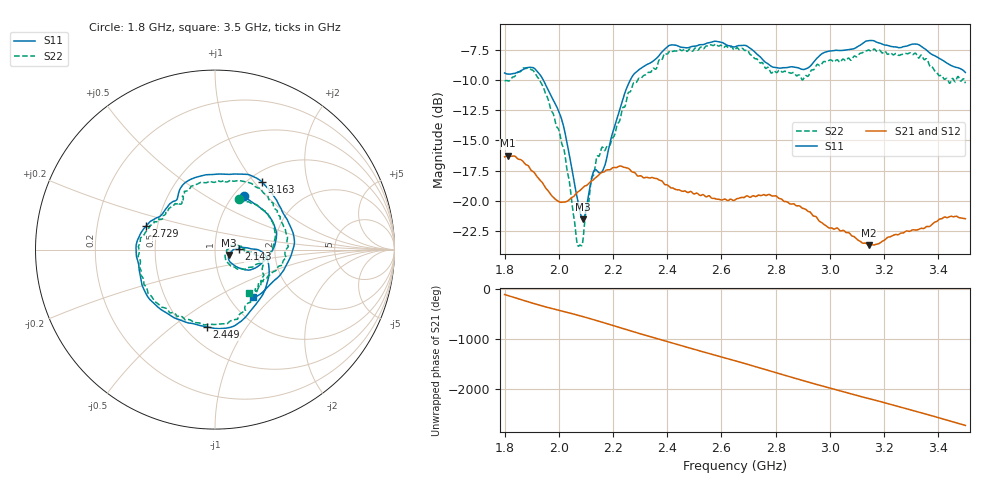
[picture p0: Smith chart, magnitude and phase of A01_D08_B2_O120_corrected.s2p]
! Created with skrf 1.9.0 (http://scikit-rf.org).
# Hz S RI R 50.0
!freq ReS11 ImS11 ReS21 ImS21 ReS12 ImS12 ReS22 ImS22
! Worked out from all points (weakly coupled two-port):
!   1601 points, 1.8 GHz to 3.5 GHz, reference 50 ohm
!   highest |S21| = -16.27 dB at 1.812 GHz (marker M1); lowest = -23.7 dB at 3.143 GHz (marker M2)
!   lowest |S11| = -21.5 dB at 2.09 GHz (marker M3), VSWR 1.18, Z = 58.4 - j3.53 ohm
!   |S11| at or under -10 dB: 1.943 GHz to 2.264 GHz (321 MHz wide, 15.3 % of centre)
!   |S22| runs from -23.8 to -7.0 dB; largest |S21 - S12| = 0.0032
!   S11 on the Smith chart (normalised r, x): 1.8 GHz: 1.12, +0.75; 2.143 GHz: 1.30, +0.01; 2.449 GHz: 0.63, -0.67; 2.729 GHz: 0.43, +0.13; 3.163 GHz: 1.15, +1.10; 3.5 GHz: 1.27, -0.77
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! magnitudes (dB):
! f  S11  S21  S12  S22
! 1.8 GHz  -9.4  -16.4  -16.4  -10.1
! 1.812 GHz  -9.5  -16.3  -16.3  -10.1
! 1.887 GHz  -9.0  -17.1  -17.2  -9.0
! 1.94 GHz  -9.9  -18.5  -18.5  -10.5
! 2.013 GHz  -13.4  -20.1  -20.1  -15.4
! 2.067 GHz  -19.6  -19.3  -19.4  -23.4
! 2.084 GHz  -21.4  -19.0  -19.0  -23.7
! 2.09 GHz  -21.5  -18.9  -18.9  -23.1
! 2.125 GHz  -17.8  -18.3  -18.3  -18.0
! 2.143 GHz  -17.6  -18.0  -17.9  -16.3
! 2.168 GHz  -17.2  -17.6  -17.6  -15.8
! 2.265 GHz  -9.9  -17.5  -17.5  -10.9
! 2.367 GHz  -8.0  -18.2  -18.2  -8.5
! 2.449 GHz  -7.3  -19.2  -19.2  -7.5
! 2.65 GHz  -7.2  -19.9  -19.9  -7.5
! 2.729 GHz  -7.8  -19.6  -19.7  -8.2
! 2.934 GHz  -8.7  -21.1  -21.1  -9.2
! 3.143 GHz  -6.7  -23.7  -23.6  -7.5
! 3.163 GHz  -6.8  -23.7  -23.6  -7.4
! 3.217 GHz  -7.2  -23.0  -23.0  -7.8
! 3.326 GHz  -7.1  -22.4  -22.4  -8.2
! 3.5 GHz  -9.4  -21.5  -21.5  -10.3
